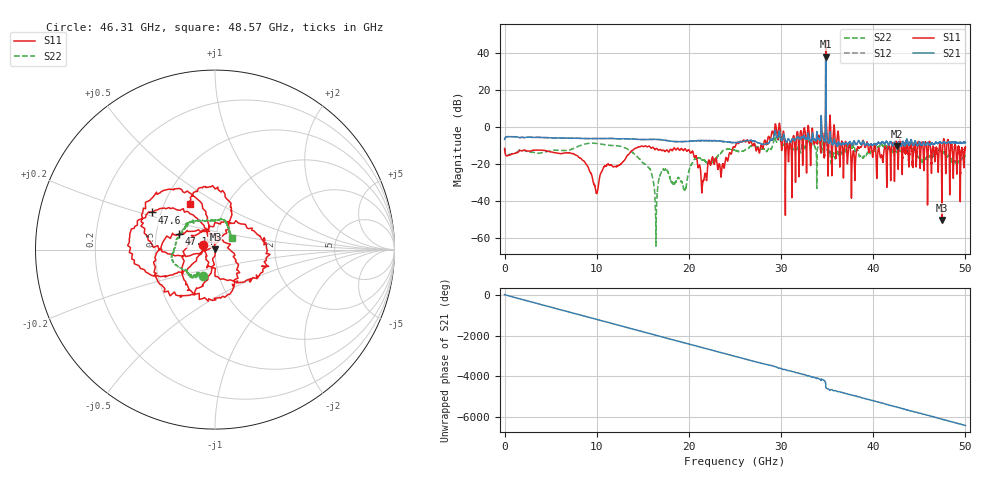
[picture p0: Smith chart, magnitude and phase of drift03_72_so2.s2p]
!Created with skrf (http://scikit-rf.org).
# Hz S RI R 50.0
!freq ReS11 ImS11 ReS21 ImS21 ReS12 ImS12 ReS22 ImS22
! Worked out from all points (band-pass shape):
!   10001 points, 300 kHz to 50 GHz, reference 50 ohm
!   highest |S21| = 38.15 dB at 34.85 GHz (marker M1); lowest = -10.3 dB at 42.56 GHz (marker M2)
!   |S21| within 3 dB of the highest: 34.84439 GHz to 34.84566 GHz (1.271 MHz wide, 0.00365 % of centre)
!   lowest |S11| = -50.0 dB at 47.44 GHz (marker M3), VSWR 1.01, Z = 50.2 + j0.215 ohm
!   |S11| at or under -10 dB: start of sweep to 15.23 GHz; 15.32 GHz to 25.05 GHz (9.735 GHz wide, 48.2 % of centre); 40.22 GHz to 41.61 GHz (1.391 GHz wide, 3.4 % of centre) (the widest 3 of 57)
!   |S22| runs from -64.2 to 29.1 dB; largest |S21 - S12| = 11
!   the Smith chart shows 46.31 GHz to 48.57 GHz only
!   S11 on the Smith chart (normalised r, x): 46.31 GHz: 0.88, +0.04; 47.14 GHz: 0.65, +0.12; 47.6 GHz: 0.45, +0.22; 48.57 GHz: 0.67, +0.37
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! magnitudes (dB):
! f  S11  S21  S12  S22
! 300 kHz  -11.4  -6.5  -6.5  -11.4
! 8.335 GHz  -17.1  -6.0  -6.0  -9.6
! 9.955 GHz  -35.5  -6.1  -6.1  -8.7
! 13.8 GHz  -12.6  -6.3  -6.3  -13.3
! 16.67 GHz  -12.4  -6.5  -6.5  -30.2
! 17.35 GHz  -12.8  -6.9  -6.9  -22.9
! 19.55 GHz  -11.6  -7.7  -7.7  -33.7
! 20.22 GHz  -13.9  -7.5  -7.5  -20.4
! 21.55 GHz  -28.7  -7.2  -7.2  -17.7
! 25 GHz  -10.6  -8.2  -8.2  -12.5
! 33.34 GHz  -3.8  -6.8  -6.7  -9.3
! 34.85 GHz  46.9  38.2  38.0  29.1
! 37.83 GHz  -12.9  -8.2  -8.2  -9.7
! 38.82 GHz  -8.2  -8.0  -8.0  -16.3
! 41.67 GHz  -9.1  -9.4  -9.3  -11.4
! 42.56 GHz  -8.3  -10.3  -10.4  -13.5
! 46.31 GHz  -23.2  -8.5  -8.6  -15.9
! 47.14 GHz  -13.1  -8.2  -8.3  -12.2
! 47.44 GHz  -50.0  -8.5  -8.6  -13.5
! 47.6 GHz  -7.8  -8.1  -8.2  -13.9
! 48.57 GHz  -10.8  -8.1  -8.1  -18.7
! 50 GHz  -10.8  -8.2  -8.2  -15.5
